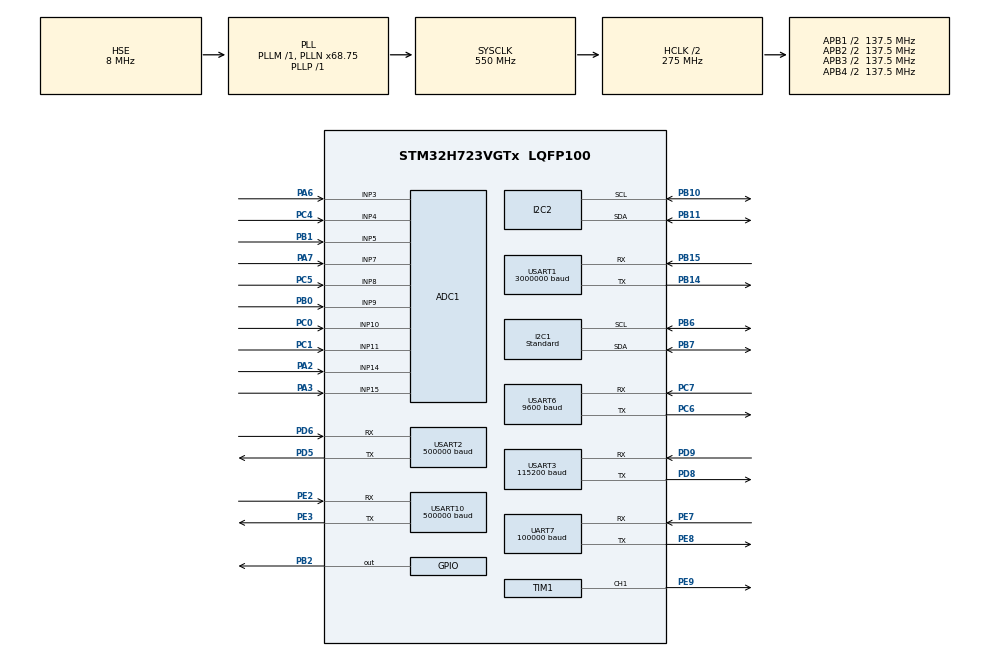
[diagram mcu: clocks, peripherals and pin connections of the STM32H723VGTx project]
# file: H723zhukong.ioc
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ADC1.Channel-0\#ChannelRegularConversion=ADC_CHANNEL_3
ADC1.NbrOfConversionFlag=1
ADC1.OffsetNumber-0\#ChannelRegularConversion=ADC_OFFSET_NONE
ADC1.OffsetSignedSaturation-0\#ChannelRegularConversion=DISABLE
ADC1.Rank-0\#ChannelRegularConversion=1
ADC1.SamplingTime-0\#ChannelRegularConversion=ADC_SAMPLETIME_1CYCLE_5
ADC1.master=1
CORTEX_M7.default_mode_Activation=1
Dma.Request0=USART1_RX
Dma.Request1=USART1_TX
Dma.Request2=UART7_RX
Dma.Request3=USART6_RX
Dma.UART7_RX.2.Direction=DMA_PERIPH_TO_MEMORY
Dma.UART7_RX.2.EventEnable=DISABLE
Dma.UART7_RX.2.FIFOMode=DMA_FIFOMODE_DISABLE
Dma.UART7_RX.2.Instance=DMA1_Stream2
Dma.UART7_RX.2.MemDataAlignment=DMA_MDATAALIGN_BYTE
Dma.UART7_RX.2.MemInc=DMA_MINC_ENABLE
Dma.UART7_RX.2.Mode=DMA_CIRCULAR
Dma.UART7_RX.2.PeriphDataAlignment=DMA_PDATAALIGN_BYTE
Dma.UART7_RX.2.PeriphInc=DMA_PINC_DISABLE
Dma.UART7_RX.2.Polarity=HAL_DMAMUX_REQ_GEN_RISING
Dma.UART7_RX.2.Priority=DMA_PRIORITY_HIGH
Dma.UART7_RX.2.RequestNumber=1
Dma.UART7_RX.2.SignalID=NONE
Dma.UART7_RX.2.SyncEnable=DISABLE
Dma.UART7_RX.2.SyncPolarity=HAL_DMAMUX_SYNC_NO_EVENT
Dma.UART7_RX.2.SyncRequestNumber=1
Dma.UART7_RX.2.SyncSignalID=NONE
Dma.USART1_RX.0.Direction=DMA_PERIPH_TO_MEMORY
Dma.USART1_RX.0.EventEnable=DISABLE
Dma.USART1_RX.0.FIFOMode=DMA_FIFOMODE_DISABLE
Dma.USART1_RX.0.Instance=DMA1_Stream0
Dma.USART1_RX.0.MemDataAlignment=DMA_MDATAALIGN_BYTE
Dma.USART1_RX.0.MemInc=DMA_MINC_ENABLE
Dma.USART1_RX.0.Mode=DMA_NORMAL
Dma.USART1_RX.0.PeriphDataAlignment=DMA_PDATAALIGN_BYTE
Dma.USART1_RX.0.PeriphInc=DMA_PINC_DISABLE
Dma.USART1_RX.0.Polarity=HAL_DMAMUX_REQ_GEN_RISING
Dma.USART1_RX.0.Priority=DMA_PRIORITY_LOW
Dma.USART1_RX.0.RequestNumber=1
Dma.USART1_RX.0.SignalID=NONE
Dma.USART1_RX.0.SyncEnable=DISABLE
Dma.USART1_RX.0.SyncPolarity=HAL_DMAMUX_SYNC_NO_EVENT
Dma.USART1_RX.0.SyncRequestNumber=1
Dma.USART1_RX.0.SyncSignalID=NONE
Dma.USART1_TX.1.Direction=DMA_MEMORY_TO_PERIPH
Dma.USART1_TX.1.EventEnable=DISABLE
Dma.USART1_TX.1.FIFOMode=DMA_FIFOMODE_DISABLE
Dma.USART1_TX.1.Instance=DMA1_Stream1
Dma.USART1_TX.1.MemDataAlignment=DMA_MDATAALIGN_BYTE
Dma.USART1_TX.1.MemInc=DMA_MINC_ENABLE
Dma.USART1_TX.1.Mode=DMA_NORMAL
Dma.USART1_TX.1.PeriphDataAlignment=DMA_PDATAALIGN_BYTE
Dma.USART1_TX.1.PeriphInc=DMA_PINC_DISABLE
Dma.USART1_TX.1.Polarity=HAL_DMAMUX_REQ_GEN_RISING
Dma.USART1_TX.1.Priority=DMA_PRIORITY_LOW
Dma.USART1_TX.1.RequestNumber=1
Dma.USART1_TX.1.SignalID=NONE
Dma.USART1_TX.1.SyncEnable=DISABLE
Dma.USART1_TX.1.SyncPolarity=HAL_DMAMUX_SYNC_NO_EVENT
Dma.USART1_TX.1.SyncRequestNumber=1
Dma.USART1_TX.1.SyncSignalID=NONE
Dma.USART6_RX.3.Direction=DMA_PERIPH_TO_MEMORY
Dma.USART6_RX.3.EventEnable=DISABLE
Dma.USART6_RX.3.FIFOMode=DMA_FIFOMODE_DISABLE
Dma.USART6_RX.3.Instance=DMA1_Stream3
Dma.USART6_RX.3.MemDataAlignment=DMA_MDATAALIGN_BYTE
Dma.USART6_RX.3.MemInc=DMA_MINC_ENABLE
Dma.USART6_RX.3.Mode=DMA_NORMAL
Dma.USART6_RX.3.PeriphDataAlignment=DMA_PDATAALIGN_BYTE
Dma.USART6_RX.3.PeriphInc=DMA_PINC_DISABLE
Dma.USART6_RX.3.Polarity=HAL_DMAMUX_REQ_GEN_RISING
Dma.USART6_RX.3.Priority=DMA_PRIORITY_LOW
Dma.USART6_RX.3.RequestNumber=1
Dma.USART6_RX.3.SignalID=NONE
Dma.USART6_RX.3.SyncEnable=DISABLE
Dma.USART6_RX.3.SyncPolarity=HAL_DMAMUX_SYNC_NO_EVENT
Dma.USART6_RX.3.SyncRequestNumber=1
Dma.USART6_RX.3.SyncSignalID=NONE
FREERTOS.BinarySemaphores01=RS485RTX,Dynamic,NULL,Depleted
FREERTOS.Tasks01=REMOTE_Task,24,256,REMOTETask,Default,NULL,Dynamic,NULL,NULL;RS485,8,512,RS485Task02,Default,NULL,Dynamic,NULL,NULL;zhuhanshu,8,1024,zhuhanshuTask03,Default,NULL,Dynamic,NULL,NULL;JY901,8,256,JY901Task04,Default,NULL,Dynamic,NULL,NULL
FREERTOS.configTOTAL_HEAP_SIZE=65536
I2C1.I2C_Speed_Mode=I2C_Standard
I2C1.Timing=0x60404E72
I2C2.Timing=0x60404E72
Mcu.Family=STM32H7
Mcu.Name=STM32H723VGTx
Mcu.Package=LQFP100
NVIC.DMA1_Stream0_IRQn=true\:5\:0\:false\:false\:true\:true\:false\:true\:true
NVIC.DMA1_Stream1_IRQn=true\:5\:0\:false\:false\:true\:true\:false\:true\:true
NVIC.DMA1_Stream2_IRQn=true\:5\:0\:false\:false\:true\:true\:false\:true\:true
NVIC.DMA1_Stream3_IRQn=true\:5\:0\:false\:false\:true\:true\:false\:true\:true
NVIC.PriorityGroup=NVIC_PRIORITYGROUP_4
NVIC.TIM7_IRQn=true\:15\:0\:false\:false\:true\:false\:false\:true\:true
NVIC.TimeBase=TIM7_IRQn
NVIC.TimeBaseIP=TIM7
NVIC.UART7_IRQn=true\:5\:0\:true\:false\:true\:true\:true\:true\:true
NVIC.USART1_IRQn=true\:5\:0\:false\:false\:true\:true\:true\:true\:true
NVIC.USART6_IRQn=true\:5\:0\:false\:false\:true\:true\:true\:true\:true
PA13(JTMS/SWDIO).Mode=Serial_Wire
PA13(JTMS/SWDIO).Signal=DEBUG_JTMS-SWDIO
PA14(JTCK/SWCLK).Mode=Serial_Wire
PA14(JTCK/SWCLK).Signal=DEBUG_JTCK-SWCLK
PA2.Signal=ADCx_INP14
PA3.Signal=ADCx_INP15
PA6.Signal=ADCx_INP3
PA7.Signal=ADCx_INP7
PB0.Signal=ADCx_INP9
PB1.Signal=ADCx_INP5
PB10.Mode=I2C
PB10.Signal=I2C2_SCL
PB11.Mode=I2C
PB11.Signal=I2C2_SDA
PB14.Mode=Asynchronous
PB14.Signal=USART1_TX
PB15.Mode=Asynchronous
PB15.Signal=USART1_RX
PB2.GPIO_Speed=GPIO_SPEED_FREQ_HIGH
PB2.Signal=GPIO_Output
PB6.Mode=I2C
PB6.Signal=I2C1_SCL
PB7.Mode=I2C
PB7.Signal=I2C1_SDA
PC0.Signal=ADCx_INP10
PC1.Signal=ADCx_INP11
PC4.Signal=ADCx_INP4
PC5.Signal=ADCx_INP8
PC6.Mode=Asynchronous
PC6.Signal=USART6_TX
PC7.Mode=Asynchronous
PC7.Signal=USART6_RX
PD5.Mode=Asynchronous
PD5.Signal=USART2_TX
PD6.Mode=Asynchronous
PD6.Signal=USART2_RX
PD8.Mode=Asynchronous
PD8.Signal=USART3_TX
PD9.Mode=Asynchronous
PD9.Signal=USART3_RX
PE2.Mode=Asynchronous
PE2.Signal=USART10_RX
PE3.Mode=Asynchronous
PE3.Signal=USART10_TX
PE7.GPIO_Speed=GPIO_SPEED_FREQ_VERY_HIGH
PE7.Mode=Asynchronous
PE7.Signal=UART7_RX
PE8.GPIO_Speed=GPIO_SPEED_FREQ_VERY_HIGH
PE8.Mode=Asynchronous
PE8.Signal=UART7_TX
PE9.Signal=S_TIM1_CH1
PH0-OSC_IN.Mode=HSE-External-Oscillator
PH0-OSC_IN.Signal=RCC_OSC_IN
PH1-OSC_OUT.Mode=HSE-External-Oscillator
PH1-OSC_OUT.Signal=RCC_OSC_OUT
ProjectManager.HeapSize=0x400
ProjectManager.StackSize=0x800
ProjectManager.TargetToolchain=MDK-ARM V5.32
RCC.ADCFreq_Value=96000000
RCC.APB1Freq_Value=137500000
RCC.APB2Freq_Value=137500000
RCC.APB3Freq_Value=137500000
RCC.APB4Freq_Value=137500000
RCC.CortexFreq_Value=550000000
RCC.D1PPRE=RCC_APB3_DIV2
RCC.D2PPRE1=RCC_APB1_DIV2
RCC.D2PPRE2=RCC_APB2_DIV2
RCC.D3PPRE=RCC_APB4_DIV2
RCC.DIVM1=1
RCC.DIVM2=1
RCC.DIVN1=68
RCC.DIVN2=24
RCC.DIVP1=1
RCC.EnbaleCSS=false
RCC.HCLKFreq_Value=275000000
RCC.HPRE=RCC_HCLK_DIV2
RCC.HSE_VALUE=8000000
RCC.PLL1_VCI_Range-AdvancedSettings=RCC_PLL1VCIRANGE_0
RCC.PLL1_VCO_SEL-AdvancedSettings=RCC_PLL1VCOMEDIUM
RCC.PLL2FRACN=0
RCC.PLL2_VCI_Range-AdvancedSettings=RCC_PLL2VCIRANGE_0
RCC.PLL2_VCO_SEL-AdvancedSettings=RCC_PLL2VCOMEDIUM
RCC.PLL3FRACN=0
RCC.PLL3_VCI_Range-AdvancedSettings=RCC_PLL3VCIRANGE_3
RCC.PLL3_VCO_SEL-AdvancedSettings=RCC_PLL3VCOWIDE
RCC.PLLFRACN=6144
RCC.PLLSourceVirtual=RCC_PLLSOURCE_HSE
RCC.SYSCLKFreq_VALUE=550000000
RCC.SYSCLKSource=RCC_SYSCLKSOURCE_PLLCLK
RCC.USBFreq_Value=275000000
SH.ADCx_INP10.0=ADC1_INP10,IN10-Single-Ended
SH.ADCx_INP11.0=ADC1_INP11,IN11-Single-Ended
SH.ADCx_INP14.0=ADC1_INP14,IN14-Single-Ended
SH.ADCx_INP15.0=ADC1_INP15,IN15-Single-Ended
SH.ADCx_INP3.0=ADC1_INP3,IN3-Single-Ended
SH.ADCx_INP4.0=ADC1_INP4,IN4-Single-Ended
SH.ADCx_INP5.0=ADC1_INP5,IN5-Single-Ended
SH.ADCx_INP7.0=ADC1_INP7,IN7-Single-Ended
SH.ADCx_INP8.0=ADC1_INP8,IN8-Single-Ended
SH.ADCx_INP9.0=ADC1_INP9,IN9-Single-Ended
SH.S_TIM1_CH1.0=TIM1_CH1,PWM Generation1 CH1
STMicroelectronics.X-CUBE-ALGOBUILD.1.4.0.LibraryCcDSPOoLibraryJjDSPOoLibrary=true
TIM1.Channel-PWM\ Generation1\ CH1=TIM_CHANNEL_1
TIM1.Period=99
TIM1.Prescaler=9
TIM2.Prescaler=274
UART7.BaudRate=100000
UART7.Mode=MODE_TX_RX
UART7.Parity=PARITY_EVEN
UART7.RxPinLevelInvertParam=UART_ADVFEATURE_RXINV_DISABLE
UART7.StopBits=UART_STOPBITS_2
UART7.WordLength=WORDLENGTH_9B
USART1.BaudRate=3000000
USART1.ClockPrescaler=PRESCALER_DIV1
USART1.OverSampling=UART_OVERSAMPLING_16
USART1.VirtualMode-Asynchronous=VM_ASYNC
USART10.BaudRate=500000
USART10.VirtualMode=VM_ASYNC
USART2.BaudRate=500000
USART2.VirtualMode-Asynchronous=VM_ASYNC
USART3.BaudRate=115200
USART3.VirtualMode-Asynchronous=VM_ASYNC
USART6.BaudRate=9600
USART6.VirtualMode=VM_ASYNC
VP_FREERTOS_VS_CMSIS_V2.Mode=CMSIS_V2
VP_MEMORYMAP_VS_MEMORYMAP.Mode=CurAppReg
VP_STMicroelectronics.X-CUBE-ALGOBUILD_VS_DSPOoLibraryJjLibrary_1.4.0_1.4.0.Mode=DSPOoLibraryJjLibrary
VP_SYS_VS_tim7.Mode=TIM7
VP_TIM1_VS_ClockSourceINT.Mode=Internal
VP_TIM2_VS_ClockSourceINT.Mode=Internal
board=custom

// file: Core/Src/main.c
/* USER CODE BEGIN Header */
/**
  ******************************************************************************
  * @file           : main.c
  * @brief          : Main program body
  ******************************************************************************
  * @attention
  *
  * Copyright (c) 2025 STMicroelectronics.
  * All rights reserved.
  *
  * This software is licensed under terms that can be found in the LICENSE file
  * in the root directory of this software component.
  * If no LICENSE file comes with this software, it is provided AS-IS.
  *
  ******************************************************************************
  */
/* USER CODE END Header */
#include "main.h"
#include "cmsis_os.h"
#include "adc.h"
#include "dma.h"
#include "i2c.h"
#include "tim.h"
#include "usart.h"
#include "gpio.h"

/* USER CODE BEGIN Includes */
#include "stdio.h"
#include "arm_math.h"
#include "geometric_method.h"
#include "Dog_gait.h"
#include "MYDWT.h"
#include "remote_contol.h"
/* USER CODE END Includes */

void SystemClock_Config(void);
static void MPU_Config(void);
void MX_FREERTOS_Init(void);

int main(void)
{

  /* MPU Configuration--------------------------------------------------------*/
  MPU_Config();

  /* MCU Configuration--------------------------------------------------------*/

  /* Reset of all peripherals, Initializes the Flash interface and the Systick. */
  HAL_Init();

  /* Configure the system clock */
  SystemClock_Config();

  /* Initialize all configured peripherals */
  MX_GPIO_Init();
  MX_DMA_Init();
  MX_ADC1_Init();
  MX_I2C1_Init();
  MX_UART7_Init();
  MX_USART1_UART_Init();
  MX_USART2_UART_Init();
  MX_USART3_UART_Init();
  MX_USART6_UART_Init();
  MX_USART10_UART_Init();
  MX_I2C2_Init();
  MX_TIM1_Init();
  MX_TIM2_Init();
  /* USER CODE BEGIN 2 */
	Enable_DWT_CycleCounter();

	HAL_Delay(8000);
	HAL_TIM_Base_Start(&htim2);

//斜向移动
//	GAIT_Init(-3,3,3,5, 10,10, 10,3,-4,1,4.15);

//前后移动
//	GAIT_Init(-3.5,3,3,5, 10,10, 10,0,0,0,4.15);

//左右平移
//	GAIT_Init(0,0,0,5, 10,10, 10,3,-4,3,4.15);

//站立
	// GAIT_Init(0,0,0,5, 10,10, 10,0,0,0,4.15);
  GAIT_Init(forward_start,forward_end, forward_height, resolution,
  height_above_ground, L1, L2,translate_BEGAIN, translate_END, translate_HIGH,Hip_lenth);
  /* Uncomment for continuous forward stepping after power-on.
  .\upload-github.bat -Message "优化低速站立，增加舞蹈和扭身动作"
  .\upload-github.bat -Message "优化低速站立，增加舞蹈和扭身动作"
  .\upload-github.bat -Message "优化低速站立，增加舞蹈和扭身动作"
  */
  // Walk_Forward_Start();
  /* USER CODE END 2 */

  /* Init scheduler */
  osKernelInitialize();  /* Call init function for freertos objects (in cmsis_os2.c) */
  MX_FREERTOS_Init();

  /* Start scheduler */
  osKernelStart();

  /* We should never get here as control is now taken by the scheduler */

  /* Infinite loop */
  while (1)
  {

  }
}

void SystemClock_Config(void)
{
  RCC_OscInitTypeDef RCC_OscInitStruct = {0};
  RCC_ClkInitTypeDef RCC_ClkInitStruct = {0};

  /** Supply configuration update enable
  */
  HAL_PWREx_ConfigSupply(PWR_LDO_SUPPLY);

  /** Configure the main internal regulator output voltage
  */
  __HAL_PWR_VOLTAGESCALING_CONFIG(PWR_REGULATOR_VOLTAGE_SCALE0);

  while(!__HAL_PWR_GET_FLAG(PWR_FLAG_VOSRDY)) {}

  /** Initializes the RCC Oscillators according to the specified parameters
  * in the RCC_OscInitTypeDef structure.
  */
  RCC_OscInitStruct.OscillatorType = RCC_OSCILLATORTYPE_HSE;
  RCC_OscInitStruct.HSEState = RCC_HSE_ON;
  RCC_OscInitStruct.PLL.PLLState = RCC_PLL_ON;
  RCC_OscInitStruct.PLL.PLLSource = RCC_PLLSOURCE_HSE;
  RCC_OscInitStruct.PLL.PLLM = 1;
  RCC_OscInitStruct.PLL.PLLN = 68;
  RCC_OscInitStruct.PLL.PLLP = 1;
  RCC_OscInitStruct.PLL.PLLQ = 2;
  RCC_OscInitStruct.PLL.PLLR = 2;
  RCC_OscInitStruct.PLL.PLLRGE = RCC_PLL1VCIRANGE_3;
  RCC_OscInitStruct.PLL.PLLVCOSEL = RCC_PLL1VCOWIDE;
  RCC_OscInitStruct.PLL.PLLFRACN = 6144;
  if (HAL_RCC_OscConfig(&RCC_OscInitStruct) != HAL_OK)
  {
    Error_Handler();
  }

  /** Initializes the CPU, AHB and APB buses clocks
  */
  RCC_ClkInitStruct.ClockType = RCC_CLOCKTYPE_HCLK|RCC_CLOCKTYPE_SYSCLK
                              |RCC_CLOCKTYPE_PCLK1|RCC_CLOCKTYPE_PCLK2
                              |RCC_CLOCKTYPE_D3PCLK1|RCC_CLOCKTYPE_D1PCLK1;
  RCC_ClkInitStruct.SYSCLKSource = RCC_SYSCLKSOURCE_PLLCLK;
  RCC_ClkInitStruct.SYSCLKDivider = RCC_SYSCLK_DIV1;
  RCC_ClkInitStruct.AHBCLKDivider = RCC_HCLK_DIV2;
  RCC_ClkInitStruct.APB3CLKDivider = RCC_APB3_DIV2;
  RCC_ClkInitStruct.APB1CLKDivider = RCC_APB1_DIV2;
  RCC_ClkInitStruct.APB2CLKDivider = RCC_APB2_DIV2;
  RCC_ClkInitStruct.APB4CLKDivider = RCC_APB4_DIV2;

  if (HAL_RCC_ClockConfig(&RCC_ClkInitStruct, FLASH_LATENCY_3) != HAL_OK)
  {
    Error_Handler();
  }
}

 /* MPU Configuration */

void MPU_Config(void)
{
  MPU_Region_InitTypeDef MPU_InitStruct = {0};

  /* Disables the MPU */
  HAL_MPU_Disable();

  /** Initializes and configures the Region and the memory to be protected
  */
  MPU_InitStruct.Enable = MPU_REGION_ENABLE;
  MPU_InitStruct.Number = MPU_REGION_NUMBER0;
  MPU_InitStruct.BaseAddress = 0x0;
  MPU_InitStruct.Size = MPU_REGION_SIZE_4GB;
  MPU_InitStruct.SubRegionDisable = 0x87;
  MPU_InitStruct.TypeExtField = MPU_TEX_LEVEL0;
  MPU_InitStruct.AccessPermission = MPU_REGION_NO_ACCESS;
  MPU_InitStruct.DisableExec = MPU_INSTRUCTION_ACCESS_DISABLE;
  MPU_InitStruct.IsShareable = MPU_ACCESS_SHAREABLE;
  MPU_InitStruct.IsCacheable = MPU_ACCESS_NOT_CACHEABLE;
  MPU_InitStruct.IsBufferable = MPU_ACCESS_NOT_BUFFERABLE;

  HAL_MPU_ConfigRegion(&MPU_InitStruct);
  /* Enables the MPU */
  HAL_MPU_Enable(MPU_PRIVILEGED_DEFAULT);

}

void HAL_TIM_PeriodElapsedCallback(TIM_HandleTypeDef *htim)
{
  if (htim->Instance == TIM7)
  {
    HAL_IncTick();
  }
}

void Error_Handler(void)
{
  __disable_irq();
  while (1)
  {
  }
}

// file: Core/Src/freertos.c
/* USER CODE BEGIN Header */
/**
  ******************************************************************************
  * File Name          : freertos.c
  * Description        : Code for freertos applications
  ******************************************************************************
  * @attention
  *
  * Copyright (c) 2025 STMicroelectronics.
  * All rights reserved.
  *
  * This software is licensed under terms that can be found in the LICENSE file
  * in the root directory of this software component.
  * If no LICENSE file comes with this software, it is provided AS-IS.
  *
  ******************************************************************************
  */
/* USER CODE END Header */

#include "FreeRTOS.h"
#include "task.h"
#include "main.h"
#include "cmsis_os.h"

/* USER CODE BEGIN Includes */
#include  <stdio.h>
#include "usart.h"
#include <stdint.h>
#include "time.h"
#include "MYDWT.h"
#include "task.h"
#include "RS485.h"
#include "Dog_gait.h"
#include "geometric_method.h"
#include "remote_contol.h"
#include "JY901S.h"
#include "i2c.h"
/* USER CODE END Includes */

/* Definitions for REMOTE_Task */
osThreadId_t REMOTE_TaskHandle;
const osThreadAttr_t REMOTE_Task_attributes = {
  .name = "REMOTE_Task",
  .stack_size = 256 * 4,
  .priority = (osPriority_t) osPriorityNormal,
};
/* Definitions for RS485 */
osThreadId_t RS485Handle;
const osThreadAttr_t RS485_attributes = {
  .name = "RS485",
  .stack_size = 512 * 4,
  .priority = (osPriority_t) osPriorityLow,
};
/* Definitions for zhuhanshu */
osThreadId_t zhuhanshuHandle;
const osThreadAttr_t zhuhanshu_attributes = {
  .name = "zhuhanshu",
  .stack_size = 1024 * 4,
  .priority = (osPriority_t) osPriorityLow,
};
/* Definitions for JY901 */
osThreadId_t JY901Handle;
const osThreadAttr_t JY901_attributes = {
  .name = "JY901",
  .stack_size = 512 * 4,
  .priority = (osPriority_t) osPriorityLow,
};
/* Definitions for RS485RTX */
osSemaphoreId_t RS485RTXHandle;
const osSemaphoreAttr_t RS485RTX_attributes = {
  .name = "RS485RTX"
};

void REMOTETask(void *argument);
void RS485Task02(void *argument);
void zhuhanshuTask03(void *argument);
void JY901Task04(void *argument);

void MX_FREERTOS_Init(void); /* (MISRA C 2004 rule 8.1) */

void MX_FREERTOS_Init(void) {

  /* USER CODE BEGIN RTOS_MUTEX */
  USART3_TxMutexInit();
  /* add mutexes, ... */
  /* USER CODE END RTOS_MUTEX */

  /* Create the semaphores(s) */
  /* creation of RS485RTX */
  RS485RTXHandle = osSemaphoreNew(1, 0, &RS485RTX_attributes);

  /* Create the thread(s) */
  /* creation of REMOTE_Task */
  REMOTE_TaskHandle = osThreadNew(REMOTETask, NULL, &REMOTE_Task_attributes);

  /* creation of RS485 */
  RS485Handle = osThreadNew(RS485Task02, NULL, &RS485_attributes);

  /* creation of zhuhanshu */
  zhuhanshuHandle = osThreadNew(zhuhanshuTask03, NULL, &zhuhanshu_attributes);

  /* creation of JY901 */
  JY901Handle = osThreadNew(JY901Task04, NULL, &JY901_attributes);

}

void REMOTETask(void *argument)
{
  /* USER CODE BEGIN REMOTETask */
  /* Infinite loop */
  for(;;)
  {

		if (Blute_tooth_flag == 1)
		{
			get_blue_tooth();
			Blute_tooth_flag = 0;

		}
   osDelay(5);
  }
  /* USER CODE END REMOTETask */
}

void RS485Task02(void *argument)
{
  /* USER CODE BEGIN RS485Task02 */
  /* Infinite loop */
  for(;;)
  {
//		uint32_t ulTaskCount_RS485 = HAL_GetTick();
    //发送速度帧
    RS485_TXANGLE();
		osDelay(3);
//		vTaskDelayUntil(&ulTaskCount_RS485,5);
  }
  /* USER CODE END RS485Task02 */
}

void zhuhanshuTask03(void *argument)
{
  /* USER CODE BEGIN zhuhanshuTask03 */
  /* Infinite loop */
  for(;;)
  {
    Fall_Recovery_Monitor();
    switch (GAIT_MODE)
    {
      case GAIT_MODE_SELF_RIGHT:
        Self_Right_move();
        break;
      case GAIT_MODE_SELF_ROTATION:
        Self_Rotation_move();
        break;
      case GAIT_MODE_BODY_TWIST:
        Body_Twist_move();
        break;
      case GAIT_MODE_DANCE:
        Dance_move();
        break;
      case GAIT_MODE_WAVE_LEFT_FRONT:
        Wave_Left_Front_move();
        break;
      case GAIT_MODE_FORWARD_TEST:
        Walk_Forward();
        break;
      case GAIT_MODE_TORT :
        Tortoise_move();
        break;
      case GAIT_MODE_CRAWL :
        Crawl_move();
        break;
      case GAIT_MODE_PACE :
        PACE_move();
        break;
      case GAIT_MODE_BOUND :
        Bound_move();
        break;
      case GAIT_MODE_STAND :
        Stand_move();
        break;
      case GAIT_MODE_MARCH :
        March_move();
        break;
			case GAIT_MODE_SIT_DOWN:
				 sit_down( );
				break;
    }
    //髋关节translate_angle_R，小腿是angle_P，大腿是theata_1
    target_angle_1[0] = LEG1_angle.translate_angle_R;
    target_angle_1[1] = LEG1_angle.angle_P;
    target_angle_1[2] = LEG1_angle.theata_1;

    target_angle_1[3] = LEG2_angle.translate_angle_R;
    target_angle_1[4] = LEG2_angle.angle_P;
    target_angle_1[5] = LEG2_angle.theata_1;

		target_angle_2[0] = LEG3_angle.translate_angle_R;
    target_angle_2[1] = LEG3_angle.angle_P;
    target_angle_2[2] = LEG3_angle.theata_1;

    target_angle_2[3] = LEG4_angle.translate_angle_R;
    target_angle_2[4] = LEG4_angle.angle_P;
    target_angle_2[5] = LEG4_angle.theata_1;

//		printf("%.2f,%.2f\n",target_angle_1[1],target_angle_1[2]);
		osDelay(5);
  }
  /* USER CODE END zhuhanshuTask03 */
}

void JY901Task04(void *argument)
{
  /* USER CODE BEGIN JY901Task04 */
#if JY901S_DEBUG_OUTPUT
  uint32_t last_print = HAL_GetTick() - JY901S_PRINT_MS;
#endif
  TickType_t wake = xTaskGetTickCount();
  (void)argument;
  for (;;)
  {
    JY901S_Status status = JY901S_Update(&hi2c1);
#if JY901S_DEBUG_OUTPUT
    uint32_t now = HAL_GetTick();
    if ((uint32_t)(now - last_print) >= JY901S_PRINT_MS) {
      JY901S_PrintLatest();
      last_print = now;
    }
#endif
    if (status != JY901S_OK) {
      vTaskDelay(pdMS_TO_TICKS(JY901S_RETRY_MS));
      wake = xTaskGetTickCount();
    } else {
      vTaskDelayUntil(&wake, pdMS_TO_TICKS(JY901S_SAMPLE_MS));
    }
  }
  /* USER CODE END JY901Task04 */
}
